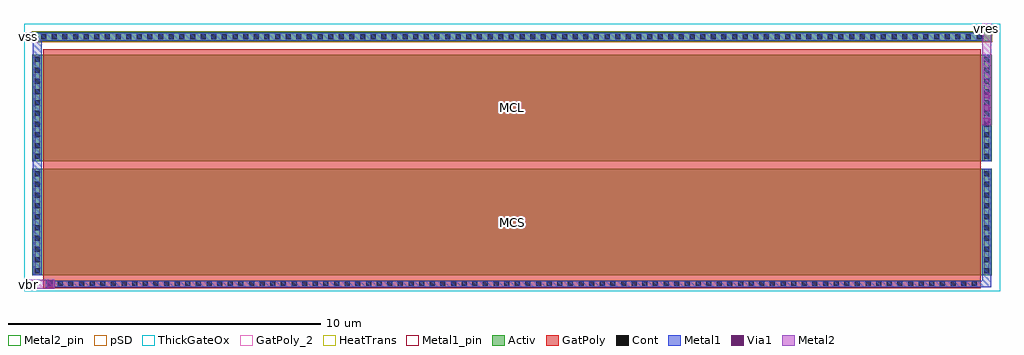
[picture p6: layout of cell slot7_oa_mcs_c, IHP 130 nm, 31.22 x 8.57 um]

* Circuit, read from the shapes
.subckt slot7_oa_mcs_c vbr vres vss
XM1 vbr vbr vss vss sg13_hv_nmos w=3.4u l=30u
XM2 vres vbr vss vss sg13_hv_nmos w=3.4u l=30u
.ends

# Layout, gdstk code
import gdstk
lib = gdstk.Library(unit=1e-6, precision=1e-09)
def R(c, l, rs):  # rectangles x0, y0, x1, y1
    for r in rs: c.add(gdstk.rectangle(r[:2], r[2:], *l))
def A(c, l, x, y, w, h, nx, ny, dx, dy):  # array of equal rectangles
    R(c, l, [(x+i*dx, y+j*dy, x+i*dx+w, y+j*dy+h) for i in range(nx) for j in range(ny)])
Activ = (1, 0)
GatPoly = (5, 0)
GatPoly_2 = (5, 2)
Cont = (6, 0)
Metal1 = (8, 0)
Metal1_pin = (8, 2)
Metal2 = (10, 0)
Metal2_pin = (10, 2)
pSD = (14, 0)
Via1 = (19, 0)
ThickGateOx = (44, 0)
HeatTrans = (51, 0)

slot7_nmoshv_8 = lib.new_cell('slot7_nmosHV_8')
R(slot7_nmoshv_8, Activ, [(0,0,0.3,0.3), (0,0,30.68,3.4), (30.38,0,30.68,0.3)])
R(slot7_nmoshv_8, GatPoly, [(0.34,-0.18,30.34,3.58)])
R(slot7_nmoshv_8, GatPoly_2, [(0.34,-0.18,30.34,3.58)])
A(slot7_nmoshv_8, Cont, 0.07, 0.41, 0.16, 0.16, 1, 9, 0, 0.345)
A(slot7_nmoshv_8, Cont, 30.45, 0.41, 0.16, 0.16, 1, 9, 0, 0.345)
R(slot7_nmoshv_8, Cont, [(0.07,0.07,0.23,0.23), (30.45,0.07,30.61,0.23)])
R(slot7_nmoshv_8, Metal1, [(0.07,0,0.23,3.4), (30.45,0,30.61,3.4)])
R(slot7_nmoshv_8, Metal1_pin, [(0.07,0,0.23,3.4), (30.45,0,30.61,3.4)])
R(slot7_nmoshv_8, ThickGateOx, [(-0.27,-0.52,30.95,3.92)])
R(slot7_nmoshv_8, HeatTrans, [(0.34,-0.18,30.34,3.58)])
slot7_nmoshv_8.add(gdstk.Label('nmosHV', (15.34,1.7), layer=63, texttype=0))
slot7_nmoshv_8.add(gdstk.Label('nmosHV', (15.34,1.7), layer=51, texttype=0))

slot7_oa_mcs_c = lib.new_cell('slot7_oa_mcs_c')
R(slot7_oa_mcs_c, Activ, [(0,7.48,30.68,7.78)])
R(slot7_oa_mcs_c, GatPoly, [(0.34,-0.41,30.34,0)])
A(slot7_oa_mcs_c, Cont, 0.47, -0.34, 0.16, 0.16, 88, 1, 0.34, 0)
A(slot7_oa_mcs_c, Cont, 0.28, 7.55, 0.16, 0.16, 89, 1, 0.34, 0)
R(slot7_oa_mcs_c, Metal1, [(0.42,-0.39,30.675,-0.18), (30.385,-0.39,30.675,3.4), (0.005,0,0.295,7.71), (30.385,3.65,30.675,7.05), (-0.27,7.5,0.23,7.76), (0.23,7.5,30.41,7.76)])
R(slot7_oa_mcs_c, Metal1_pin, [(-0.27,7.5,0.02,7.76)])
R(slot7_oa_mcs_c, Metal2, [(30.385,4.795,30.675,8.05)])
R(slot7_oa_mcs_c, Metal2_pin, [(-0.27,-0.43,0.02,-0.14), (30.385,7.76,30.675,8.05)])
R(slot7_oa_mcs_c, pSD, [(-0.03,7.45,30.71,7.81)])
A(slot7_oa_mcs_c, Via1, 30.435, 4.845, 0.19, 0.19, 1, 3, 0, 0.41)
R(slot7_oa_mcs_c, Via1, [(0.47,-0.38,0.66,-0.19)])
R(slot7_oa_mcs_c, ThickGateOx, [(-0.27,-0.52,30.95,8.05)])
slot7_oa_mcs_c.add(gdstk.FlexPath([(-0.125,-0.285),(0.565,-0.285)], 0.29, ends="extended", simple_path=True, layer=10, datatype=0))  # Metal2
r = gdstk.Reference(slot7_nmoshv_8, (0,0)); r.repetition = gdstk.Repetition(1, 2, v1=(0,0), v2=(0,3.65)); slot7_oa_mcs_c.add(r)
slot7_oa_mcs_c.add(gdstk.Label('vss', (-0.125,7.63), layer=8, texttype=25))
slot7_oa_mcs_c.add(gdstk.Label('vres', (30.53,7.905), layer=10, texttype=25))
slot7_oa_mcs_c.add(gdstk.Label('vbr', (-0.125,-0.285), layer=10, texttype=25))
slot7_oa_mcs_c.add(gdstk.Label('MCS', (15.34,1.7), layer=63, texttype=0))
slot7_oa_mcs_c.add(gdstk.Label('MCL', (15.34,5.35), layer=63, texttype=0))

lib.write_gds('slot7_oa_mcs_c.gds')
